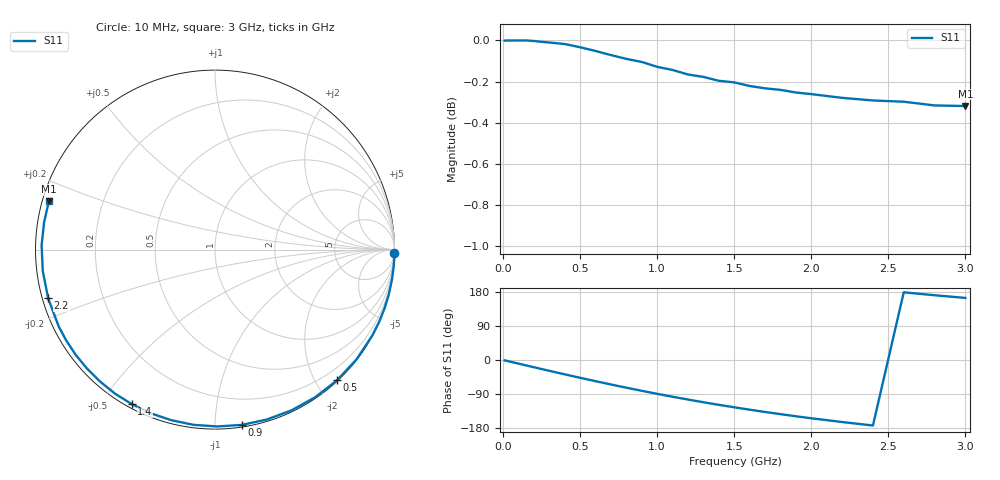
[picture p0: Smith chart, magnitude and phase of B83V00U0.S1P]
! SIEMENS Discrete & RF Semiconductors
! BBY53-03W
! Si Tuning Diode in SOD323
! VR = 3 V
! S-Parameters:  May  1997
# GHz  S  MA  R  50
!  f  S11
! GHz  MAG  ANG
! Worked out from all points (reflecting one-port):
!   30 points, 10 MHz to 3 GHz, reference 50 ohm
!   lowest |S11| = -0.3 dB at 3 GHz (marker M1), VSWR 54.48, Z = 0.936 + j7.11 ohm
!   phase of S11 starts at -1 deg and turns -195 deg over the sweep
!   S11 on the Smith chart (normalised r, x): 10 MHz: open; 500 MHz: 0.01, -2.30; 900 MHz: 0.01, -1.16; 1.4 GHz: 0.02, -0.60; 2.2 GHz: 0.02, -0.14; 3 GHz: 0.02, +0.14
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0.01  0.9999 -1.0
0.1  1 -9.5
0.15  1 -14.3
0.2  0.9997 -19.1
0.25  0.9992 -23.8
0.3  0.9988 -28.5
0.4  0.998 -37.8
0.5  0.9962 -47.0
0.6  0.9941 -55.9
0.7  0.9918 -64.6
0.8  0.9897 -73.1
0.9  0.988 -81.3
1  0.9853 -89.3
1.1  0.9836 -97.0
1.2  0.9811 -104.3
1.3  0.9798 -111.5
1.4  0.9777 -118.3
1.5  0.9768 -124.8
1.6  0.9748 -131.1
1.7  0.9736 -137.2
1.8  0.9727 -142.9
1.9  0.9713 -148.5
2  0.9704 -153.8
2.2  0.9684 -163.7
2.4  0.967 -172.9
2.6  0.9663 178.6
2.8  0.9643 170.9
3  0.9639 163.8
